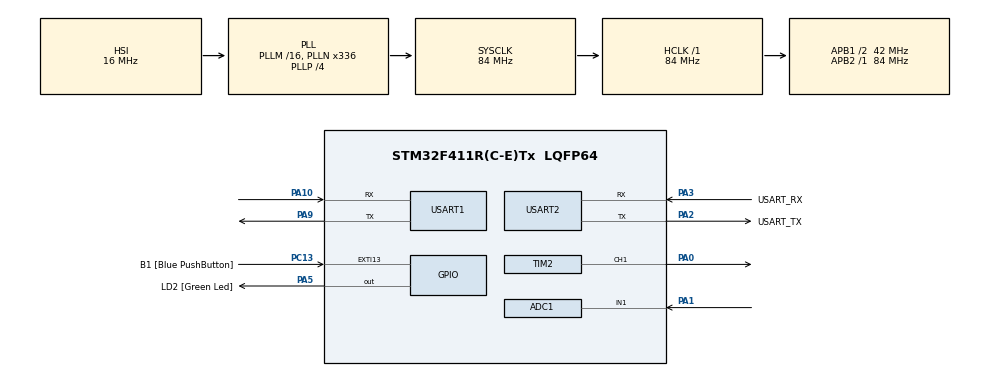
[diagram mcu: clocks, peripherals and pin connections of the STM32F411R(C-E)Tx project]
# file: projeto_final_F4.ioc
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ADC1.Channel-0\#ChannelRegularConversion=ADC_CHANNEL_1
ADC1.DiscontinuousConvMode=DISABLE
ADC1.NbrOfConversion=1
ADC1.NbrOfConversionFlag=1
ADC1.Rank-0\#ChannelRegularConversion=1
ADC1.SamplingTime-0\#ChannelRegularConversion=ADC_SAMPLETIME_3CYCLES
ADC1.master=1
Mcu.Family=STM32F4
Mcu.Name=STM32F411R(C-E)Tx
Mcu.Package=LQFP64
NVIC.ADC_IRQn=true\:0\:0\:false\:false\:true\:true\:true\:true
NVIC.EXTI15_10_IRQn=true\:0\:0\:false\:false\:true\:true\:true\:true
NVIC.PriorityGroup=NVIC_PRIORITYGROUP_0
NVIC.TIM2_IRQn=true\:0\:0\:false\:false\:true\:true\:true\:true
NVIC.USART1_IRQn=true\:0\:0\:false\:false\:true\:true\:true\:true
PA0-WKUP.Signal=S_TIM2_CH1_ETR
PA1.Signal=ADCx_IN1
PA10.Mode=Asynchronous
PA10.Signal=USART1_RX
PA13.GPIO_Label=TMS
PA13.Mode=Serial_Wire
PA13.Signal=SYS_JTMS-SWDIO
PA14.GPIO_Label=TCK
PA14.Mode=Serial_Wire
PA14.Signal=SYS_JTCK-SWCLK
PA2.GPIO_Label=USART_TX
PA2.Mode=Asynchronous
PA2.Signal=USART2_TX
PA3.GPIO_Label=USART_RX
PA3.Mode=Asynchronous
PA3.Signal=USART2_RX
PA5.GPIO_Label=LD2 [Green Led]
PA5.Signal=GPIO_Output
PA9.Mode=Asynchronous
PA9.Signal=USART1_TX
PB3.GPIO_Label=SWO
PB3.Signal=SYS_JTDO-SWO
PC13-ANTI_TAMP.GPIO_Label=B1 [Blue PushButton]
PC13-ANTI_TAMP.GPIO_ModeDefaultEXTI=GPIO_MODE_IT_FALLING
PC13-ANTI_TAMP.Signal=GPXTI13
PC14-OSC32_IN.Mode=LSE-External-Oscillator
PC14-OSC32_IN.Signal=RCC_OSC32_IN
PC15-OSC32_OUT.Mode=LSE-External-Oscillator
PC15-OSC32_OUT.Signal=RCC_OSC32_OUT
PH0\ -\ OSC_IN.Mode=HSE-External-Clock-Source
PH0\ -\ OSC_IN.Signal=RCC_OSC_IN
PH1\ -\ OSC_OUT.Mode=HSE-External-Clock-Source
PH1\ -\ OSC_OUT.Signal=RCC_OSC_OUT
ProjectManager.HeapSize=0x200
ProjectManager.StackSize=0x400
ProjectManager.TargetToolchain=STM32CubeIDE
RCC.48MHZClocksFreq_Value=84000000
RCC.AHBFreq_Value=84000000
RCC.APB1CLKDivider=RCC_HCLK_DIV2
RCC.APB1Freq_Value=42000000
RCC.APB1TimFreq_Value=84000000
RCC.APB2Freq_Value=84000000
RCC.APB2TimFreq_Value=84000000
RCC.CortexFreq_Value=84000000
RCC.FLatency-AdvancedSettings=FLASH_LATENCY_2
RCC.HCLKFreq_Value=84000000
RCC.HSE_VALUE=8000000
RCC.HSI_VALUE=16000000
RCC.PLLN=336
RCC.PLLP=RCC_PLLP_DIV4
RCC.SYSCLKFreq_VALUE=84000000
RCC.SYSCLKSource=RCC_SYSCLKSOURCE_PLLCLK
RCC.VCOOutputFreq_Value=336000000
SH.ADCx_IN1.0=ADC1_IN1,IN1
SH.S_TIM2_CH1_ETR.0=TIM2_CH1,PWM Generation1 CH1
TIM2.Channel-PWM\ Generation1\ CH1=TIM_CHANNEL_1
TIM2.Period=1000-1
TIM2.Prescaler=84-1
USART1.VirtualMode=VM_ASYNC
USART2.VirtualMode=VM_ASYNC
VP_TIM2_VS_ClockSourceINT.Mode=Internal
board=NUCLEO-F411RE

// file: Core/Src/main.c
/* USER CODE BEGIN Header */
/**
  ******************************************************************************
  * @file           : main.c
  * @brief          : Main program body
  ******************************************************************************
  * @attention
  *
  * Copyright (c) 2025 STMicroelectronics.
  * All rights reserved.
  *
  * This software is licensed under terms that can be found in the LICENSE file
  * in the root directory of this software component.
  * If no LICENSE file comes with this software, it is provided AS-IS.
  *
  ******************************************************************************
  */
/* USER CODE END Header */
#include "main.h"

/* USER CODE BEGIN Includes */
#include <math.h>
#include <stdio.h>
#include <string.h>

/* USER CODE END Includes */

ADC_HandleTypeDef hadc1;

TIM_HandleTypeDef htim2;

UART_HandleTypeDef huart1;
UART_HandleTypeDef huart2;

/* USER CODE BEGIN PV */
int ADCread;
float V_lida,Vdd=3.3,lumi_ref,lumi_lida,R=995,A=34410,alpha=0.6041,PWM;
uint8_t recebe_usart[100];
char lumi_lida_usart[100];
char PWM_usart[100];
int flag_transmit=0;

/* USER CODE END PV */

void SystemClock_Config(void);
static void MX_GPIO_Init(void);
static void MX_USART2_UART_Init(void);
static void MX_ADC1_Init(void);
static void MX_TIM2_Init(void);
static void MX_USART1_UART_Init(void);
/* USER CODE BEGIN PFP */
void HAL_TIM_PeriodElapsedCallback(TIM_HandleTypeDef *htim){
	if(htim->Instance == TIM2){
		HAL_ADC_Start_IT(&hadc1);
		flag_transmit=1;
		HAL_UART_Receive_IT(&huart1, recebe_usart, 4);
	}
}

void HAL_ADC_ConvCpltCallback(ADC_HandleTypeDef *hadc){
	ADCread=HAL_ADC_GetValue(&hadc1);
	V_lida=(float)ADCread*Vdd/4096;
}

void HAL_GPIO_EXTI_Callback(uint16_t GPIO_Pin){
	if(GPIO_Pin & 0x2000){

	}
}
void HAL_UART_RxCpltCallback(UART_HandleTypeDef *huart){
	if(huart -> Instance == USART1){
		  PWM=atof(recebe_usart);
		  if(PWM>1000){
			  PWM=1000;
		  }
		  if(PWM<0){
			  PWM=0;
		  }
	}
}
/* USER CODE END PFP */

int main(void)
{

  /* MCU Configuration--------------------------------------------------------*/

  /* Reset of all peripherals, Initializes the Flash interface and the Systick. */
  HAL_Init();

  /* Configure the system clock */
  SystemClock_Config();

  /* Initialize all configured peripherals */
  MX_GPIO_Init();
  MX_USART2_UART_Init();
  MX_ADC1_Init();
  MX_TIM2_Init();
  MX_USART1_UART_Init();

  /* Infinite loop */
  /* USER CODE BEGIN WHILE */
  HAL_TIM_Base_Start_IT(&htim2);
  HAL_TIM_PWM_Start(&htim2,TIM_CHANNEL_1);
  while (1)
  {
	  lumi_lida=pow(V_lida*R/(A*Vdd-V_lida*A),-1/alpha);
	  TIM2 -> CCR1 = PWM;
	  sprintf(lumi_lida_usart,"%d ",lumi_lida);
	  sprintf(PWM_usart,"%d\n",PWM);
	  if(flag_transmit){
		  HAL_UART_Transmit(&huart1, lumi_lida_usart, strlen(lumi_lida_usart), 100);
		  HAL_UART_Transmit(&huart1, PWM_usart, strlen(PWM_usart), 100);
		  flag_transmit=0;
	  }
    /* USER CODE END WHILE */

  }
}

void SystemClock_Config(void)
{
  RCC_OscInitTypeDef RCC_OscInitStruct = {0};
  RCC_ClkInitTypeDef RCC_ClkInitStruct = {0};

  /** Configure the main internal regulator output voltage
  */
  __HAL_RCC_PWR_CLK_ENABLE();
  __HAL_PWR_VOLTAGESCALING_CONFIG(PWR_REGULATOR_VOLTAGE_SCALE1);

  /** Initializes the RCC Oscillators according to the specified parameters
  * in the RCC_OscInitTypeDef structure.
  */
  RCC_OscInitStruct.OscillatorType = RCC_OSCILLATORTYPE_HSI;
  RCC_OscInitStruct.HSIState = RCC_HSI_ON;
  RCC_OscInitStruct.HSICalibrationValue = RCC_HSICALIBRATION_DEFAULT;
  RCC_OscInitStruct.PLL.PLLState = RCC_PLL_ON;
  RCC_OscInitStruct.PLL.PLLSource = RCC_PLLSOURCE_HSI;
  RCC_OscInitStruct.PLL.PLLM = 16;
  RCC_OscInitStruct.PLL.PLLN = 336;
  RCC_OscInitStruct.PLL.PLLP = RCC_PLLP_DIV4;
  RCC_OscInitStruct.PLL.PLLQ = 4;
  if (HAL_RCC_OscConfig(&RCC_OscInitStruct) != HAL_OK)
  {
    Error_Handler();
  }

  /** Initializes the CPU, AHB and APB buses clocks
  */
  RCC_ClkInitStruct.ClockType = RCC_CLOCKTYPE_HCLK|RCC_CLOCKTYPE_SYSCLK
                              |RCC_CLOCKTYPE_PCLK1|RCC_CLOCKTYPE_PCLK2;
  RCC_ClkInitStruct.SYSCLKSource = RCC_SYSCLKSOURCE_PLLCLK;
  RCC_ClkInitStruct.AHBCLKDivider = RCC_SYSCLK_DIV1;
  RCC_ClkInitStruct.APB1CLKDivider = RCC_HCLK_DIV2;
  RCC_ClkInitStruct.APB2CLKDivider = RCC_HCLK_DIV1;

  if (HAL_RCC_ClockConfig(&RCC_ClkInitStruct, FLASH_LATENCY_2) != HAL_OK)
  {
    Error_Handler();
  }
}

static void MX_ADC1_Init(void)
{

  ADC_ChannelConfTypeDef sConfig = {0};

  /** Configure the global features of the ADC (Clock, Resolution, Data Alignment and number of conversion)
  */
  hadc1.Instance = ADC1;
  hadc1.Init.ClockPrescaler = ADC_CLOCK_SYNC_PCLK_DIV4;
  hadc1.Init.Resolution = ADC_RESOLUTION_12B;
  hadc1.Init.ScanConvMode = DISABLE;
  hadc1.Init.ContinuousConvMode = DISABLE;
  hadc1.Init.DiscontinuousConvMode = DISABLE;
  hadc1.Init.ExternalTrigConvEdge = ADC_EXTERNALTRIGCONVEDGE_NONE;
  hadc1.Init.ExternalTrigConv = ADC_SOFTWARE_START;
  hadc1.Init.DataAlign = ADC_DATAALIGN_RIGHT;
  hadc1.Init.NbrOfConversion = 1;
  hadc1.Init.DMAContinuousRequests = DISABLE;
  hadc1.Init.EOCSelection = ADC_EOC_SINGLE_CONV;
  if (HAL_ADC_Init(&hadc1) != HAL_OK)
  {
    Error_Handler();
  }

  /** Configure for the selected ADC regular channel its corresponding rank in the sequencer and its sample time.
  */
  sConfig.Channel = ADC_CHANNEL_1;
  sConfig.Rank = 1;
  sConfig.SamplingTime = ADC_SAMPLETIME_3CYCLES;
  if (HAL_ADC_ConfigChannel(&hadc1, &sConfig) != HAL_OK)
  {
    Error_Handler();
  }

}

static void MX_TIM2_Init(void)
{

  TIM_ClockConfigTypeDef sClockSourceConfig = {0};
  TIM_MasterConfigTypeDef sMasterConfig = {0};
  TIM_OC_InitTypeDef sConfigOC = {0};

  htim2.Instance = TIM2;
  htim2.Init.Prescaler = 84-1;
  htim2.Init.CounterMode = TIM_COUNTERMODE_UP;
  htim2.Init.Period = 1000-1;
  htim2.Init.ClockDivision = TIM_CLOCKDIVISION_DIV1;
  htim2.Init.AutoReloadPreload = TIM_AUTORELOAD_PRELOAD_DISABLE;
  if (HAL_TIM_Base_Init(&htim2) != HAL_OK)
  {
    Error_Handler();
  }
  sClockSourceConfig.ClockSource = TIM_CLOCKSOURCE_INTERNAL;
  if (HAL_TIM_ConfigClockSource(&htim2, &sClockSourceConfig) != HAL_OK)
  {
    Error_Handler();
  }
  if (HAL_TIM_PWM_Init(&htim2) != HAL_OK)
  {
    Error_Handler();
  }
  sMasterConfig.MasterOutputTrigger = TIM_TRGO_RESET;
  sMasterConfig.MasterSlaveMode = TIM_MASTERSLAVEMODE_DISABLE;
  if (HAL_TIMEx_MasterConfigSynchronization(&htim2, &sMasterConfig) != HAL_OK)
  {
    Error_Handler();
  }
  sConfigOC.OCMode = TIM_OCMODE_PWM1;
  sConfigOC.Pulse = 0;
  sConfigOC.OCPolarity = TIM_OCPOLARITY_HIGH;
  sConfigOC.OCFastMode = TIM_OCFAST_DISABLE;
  if (HAL_TIM_PWM_ConfigChannel(&htim2, &sConfigOC, TIM_CHANNEL_1) != HAL_OK)
  {
    Error_Handler();
  }
  HAL_TIM_MspPostInit(&htim2);

}

static void MX_USART1_UART_Init(void)
{

  huart1.Instance = USART1;
  huart1.Init.BaudRate = 115200;
  huart1.Init.WordLength = UART_WORDLENGTH_8B;
  huart1.Init.StopBits = UART_STOPBITS_1;
  huart1.Init.Parity = UART_PARITY_NONE;
  huart1.Init.Mode = UART_MODE_TX_RX;
  huart1.Init.HwFlowCtl = UART_HWCONTROL_NONE;
  huart1.Init.OverSampling = UART_OVERSAMPLING_16;
  if (HAL_UART_Init(&huart1) != HAL_OK)
  {
    Error_Handler();
  }

}

static void MX_USART2_UART_Init(void)
{

  huart2.Instance = USART2;
  huart2.Init.BaudRate = 115200;
  huart2.Init.WordLength = UART_WORDLENGTH_8B;
  huart2.Init.StopBits = UART_STOPBITS_1;
  huart2.Init.Parity = UART_PARITY_NONE;
  huart2.Init.Mode = UART_MODE_TX_RX;
  huart2.Init.HwFlowCtl = UART_HWCONTROL_NONE;
  huart2.Init.OverSampling = UART_OVERSAMPLING_16;
  if (HAL_UART_Init(&huart2) != HAL_OK)
  {
    Error_Handler();
  }

}

static void MX_GPIO_Init(void)
{
  GPIO_InitTypeDef GPIO_InitStruct = {0};

  /* GPIO Ports Clock Enable */
  __HAL_RCC_GPIOC_CLK_ENABLE();
  __HAL_RCC_GPIOH_CLK_ENABLE();
  __HAL_RCC_GPIOA_CLK_ENABLE();
  __HAL_RCC_GPIOB_CLK_ENABLE();

  /*Configure GPIO pin Output Level */
  HAL_GPIO_WritePin(LD2_GPIO_Port, LD2_Pin, GPIO_PIN_RESET);

  /*Configure GPIO pin : B1_Pin */
  GPIO_InitStruct.Pin = B1_Pin;
  GPIO_InitStruct.Mode = GPIO_MODE_IT_FALLING;
  GPIO_InitStruct.Pull = GPIO_NOPULL;
  HAL_GPIO_Init(B1_GPIO_Port, &GPIO_InitStruct);

  /*Configure GPIO pin : LD2_Pin */
  GPIO_InitStruct.Pin = LD2_Pin;
  GPIO_InitStruct.Mode = GPIO_MODE_OUTPUT_PP;
  GPIO_InitStruct.Pull = GPIO_NOPULL;
  GPIO_InitStruct.Speed = GPIO_SPEED_FREQ_LOW;
  HAL_GPIO_Init(LD2_GPIO_Port, &GPIO_InitStruct);

  /* EXTI interrupt init*/
  HAL_NVIC_SetPriority(EXTI15_10_IRQn, 0, 0);
  HAL_NVIC_EnableIRQ(EXTI15_10_IRQn);

}

void Error_Handler(void)
{
  __disable_irq();
  while (1)
  {
  }
}
